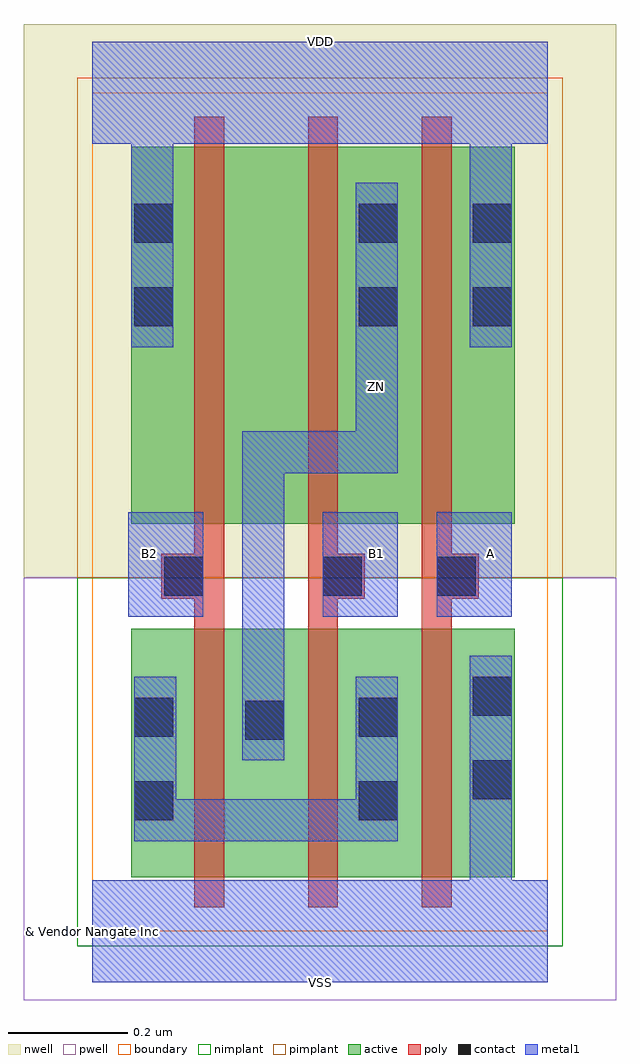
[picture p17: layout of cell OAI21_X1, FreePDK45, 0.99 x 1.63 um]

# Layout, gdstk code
import gdstk
lib = gdstk.Library(unit=1e-6, precision=1e-09)
def R(c, l, rs):  # rectangles x0, y0, x1, y1
    for r in rs: c.add(gdstk.rectangle(r[:2], r[2:], *l))
def P(c, l, *ps):  # polygons
    for p in ps: c.add(gdstk.Polygon(p, *l))
active = (1, 0)
pwell = (2, 0)
nwell = (3, 0)
nimplant = (4, 0)
pimplant = (5, 0)
poly = (9, 0)
contact = (10, 0)
metal1 = (11, 0)
boundary = (235, 0)

oai21_x1 = lib.new_cell('OAI21_X1')
R(oai21_x1, active, [(0.065,0.09,0.705,0.505), (0.065,0.68,0.705,1.31)])
R(oai21_x1, pwell, [(-0.115,-0.115,0.875,0.59)])
R(oai21_x1, nwell, [(-0.115,0.59,0.875,1.515)])
R(oai21_x1, nimplant, [(-0.025,-0.025,0.785,0.59)])
R(oai21_x1, pimplant, [(-0.025,0.59,0.785,1.425)])
P(oai21_x1, poly, [(0.115,0.555),(0.17,0.555),(0.17,0.04),(0.22,0.04),(0.22,1.36),(0.17,1.36),(0.17,0.63),(0.115,0.63)],
  [(0.36,0.04),(0.41,0.04),(0.41,0.555),(0.455,0.555),(0.455,0.63),(0.41,0.63),(0.41,1.36),(0.36,1.36)],
  [(0.55,0.04),(0.6,0.04),(0.6,0.555),(0.645,0.555),(0.645,0.63),(0.6,0.63),(0.6,1.36),(0.55,1.36)])
R(oai21_x1, contact, [(0.07,0.185,0.135,0.25), (0.445,0.185,0.51,0.25), (0.635,0.22,0.7,0.285), (0.255,0.32,0.32,0.385), (0.07,0.325,0.135,0.39), (0.445,0.325,0.51,0.39), (0.635,0.36,0.7,0.425), (0.12,0.56,0.185,0.625), (0.385,0.56,0.45,0.625), (0.575,0.56,0.64,0.625), (0.07,1.01,0.135,1.075), (0.445,1.01,0.51,1.075), (0.635,1.01,0.7,1.075), (0.07,1.15,0.135,1.215), (0.445,1.15,0.51,1.215), (0.635,1.15,0.7,1.215)])
R(oai21_x1, metal1, [(0.06,0.525,0.185,0.7), (0.385,0.525,0.51,0.7), (0.575,0.525,0.7,0.7)])
P(oai21_x1, metal1, [(0.07,0.15),(0.51,0.15),(0.51,0.425),(0.44,0.425),(0.44,0.22),(0.14,0.22),(0.14,0.425),(0.07,0.425)],
  [(0.25,0.285),(0.32,0.285),(0.32,0.765),(0.51,0.765),(0.51,1.25),(0.44,1.25),(0.44,0.835),(0.25,0.835)],
  [(0,-0.085),(0.76,-0.085),(0.76,0.085),(0.7,0.085),(0.7,0.46),(0.63,0.46),(0.63,0.085),(0,0.085)],
  [(0,1.315),(0.065,1.315),(0.065,0.975),(0.135,0.975),(0.135,1.315),(0.63,1.315),(0.63,0.975),(0.7,0.975),(0.7,1.315),(0.76,1.315),(0.76,1.485),(0,1.485)])
R(oai21_x1, boundary, [(0,0,0.76,1.4)])
oai21_x1.add(gdstk.Label('A', (0.665,0.63), layer=11, texttype=0))
oai21_x1.add(gdstk.Label('B1', (0.475,0.63), layer=11, texttype=0))
oai21_x1.add(gdstk.Label('B2', (0.095,0.63), layer=11, texttype=0))
oai21_x1.add(gdstk.Label('VDD', (0.38,1.485), layer=11, texttype=0))
oai21_x1.add(gdstk.Label('VSS', (0.38,-0.085), layer=11, texttype=0))
oai21_x1.add(gdstk.Label('ZN', (0.475,0.91), layer=11, texttype=0))
oai21_x1.add(gdstk.Label('& Vendor Nangate Inc', (0,0), layer=63, texttype=63))
oai21_x1.add(gdstk.Label('& Product Open Cell Library', (0,0), layer=63, texttype=63))
oai21_x1.add(gdstk.Label('& Version 2010_12', (0,0), layer=63, texttype=63))
oai21_x1.add(gdstk.Label('& Instance OAI21_X1', (0,0), layer=63, texttype=63))

lib.write_gds('OAI21_X1.gds')
